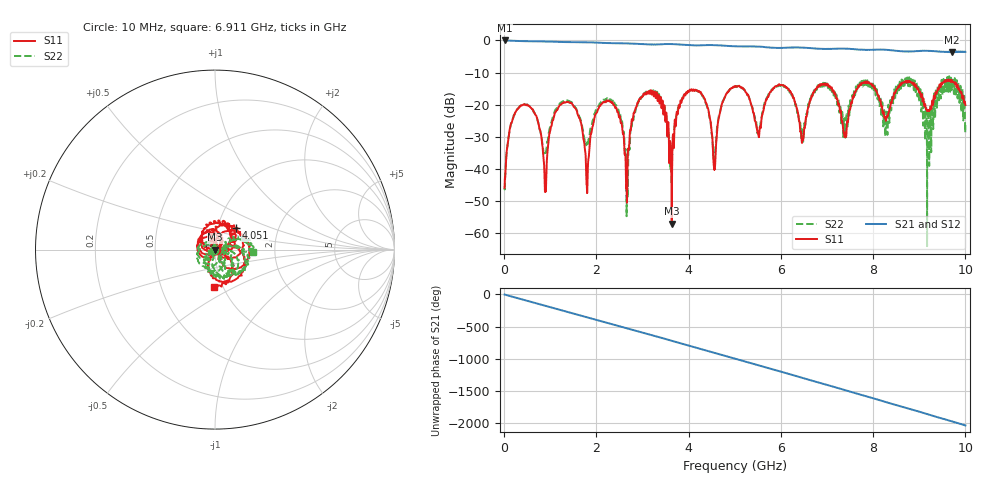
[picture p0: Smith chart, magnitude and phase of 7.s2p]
!Keysight Technologies,E5080B,MY59205177,A.15.75.32
!Date: Friday, February 23, 2024 03:25:57
!Correction: S11(Cdelta 2-Port  )
!S21(Cdelta 2-Port  )
!S12(Cdelta 2-Port  )
!S22(Cdelta 2-Port  )
!S2P File: Measurements: S11, S21, S12, S22:
# Hz S  dB  R 50
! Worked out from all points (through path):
!   10001 points, 10 MHz to 10 GHz, reference 50 ohm
!   highest |S21| = -0.02 dB at 10 MHz (marker M1); lowest = -3.7 dB at 9.701 GHz (marker M2)
!   group delay of S21, straight-line fit = 565 ps
!   lowest |S11| = -57.0 dB at 3.634 GHz (marker M3), VSWR 1.00, Z = 50.1 - j0.126 ohm
!   |S11| at or under -10 dB: start of sweep to end of sweep
!   |S22| runs from -64.1 to -11.2 dB; largest |S21 - S12| = 0.0015
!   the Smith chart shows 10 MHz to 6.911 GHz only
!   S11 on the Smith chart (normalised r, x): 10 MHz: 1.01, -0.00; 4.051 GHz: 1.22, +0.30; 6.911 GHz: 0.91, -0.39
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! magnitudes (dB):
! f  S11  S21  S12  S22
! 10 MHz  -45.9  0.0  0.0  -46.3
! 361.6 MHz  -20.3  -0.2  -0.2  -20.3
! 889.1 MHz  -46.7  -0.3  -0.3  -35.5
! 1.213 GHz  -20.1  -0.5  -0.5  -19.6
! 1.675 GHz  -26.2  -0.6  -0.6  -25.5
! 1.802 GHz  -47.1  -0.6  -0.6  -32.1
! 2.35 GHz  -19.3  -0.9  -0.9  -18.8
! 2.664 GHz  -50.2  -0.9  -0.9  -41.6
! 2.891 GHz  -19.4  -1.1  -1.1  -20.2
! 3.341 GHz  -17.5  -1.2  -1.2  -17.8
! 3.634 GHz  -57.0  -1.1  -1.1  -42.4
! 4.051 GHz  -15.6  -1.5  -1.5  -15.6
! 4.56 GHz  -40.2  -1.5  -1.5  -39.3
! 5.005 GHz  -14.2  -1.8  -1.8  -14.5
! 5.515 GHz  -29.7  -1.9  -1.9  -28.8
! 6.67 GHz  -17.3  -2.4  -2.4  -16.9
! 6.911 GHz  -13.7  -2.6  -2.6  -13.5
! 7.383 GHz  -30.1  -2.6  -2.6  -25.3
! 7.795 GHz  -13.1  -2.9  -2.9  -12.7
! 8.336 GHz  -22.5  -3.0  -3.0  -20.5
! 9.701 GHz  -12.3  -3.7  -3.7  -13.9
! 10 GHz  -20.1  -3.6  -3.6  -26.2
